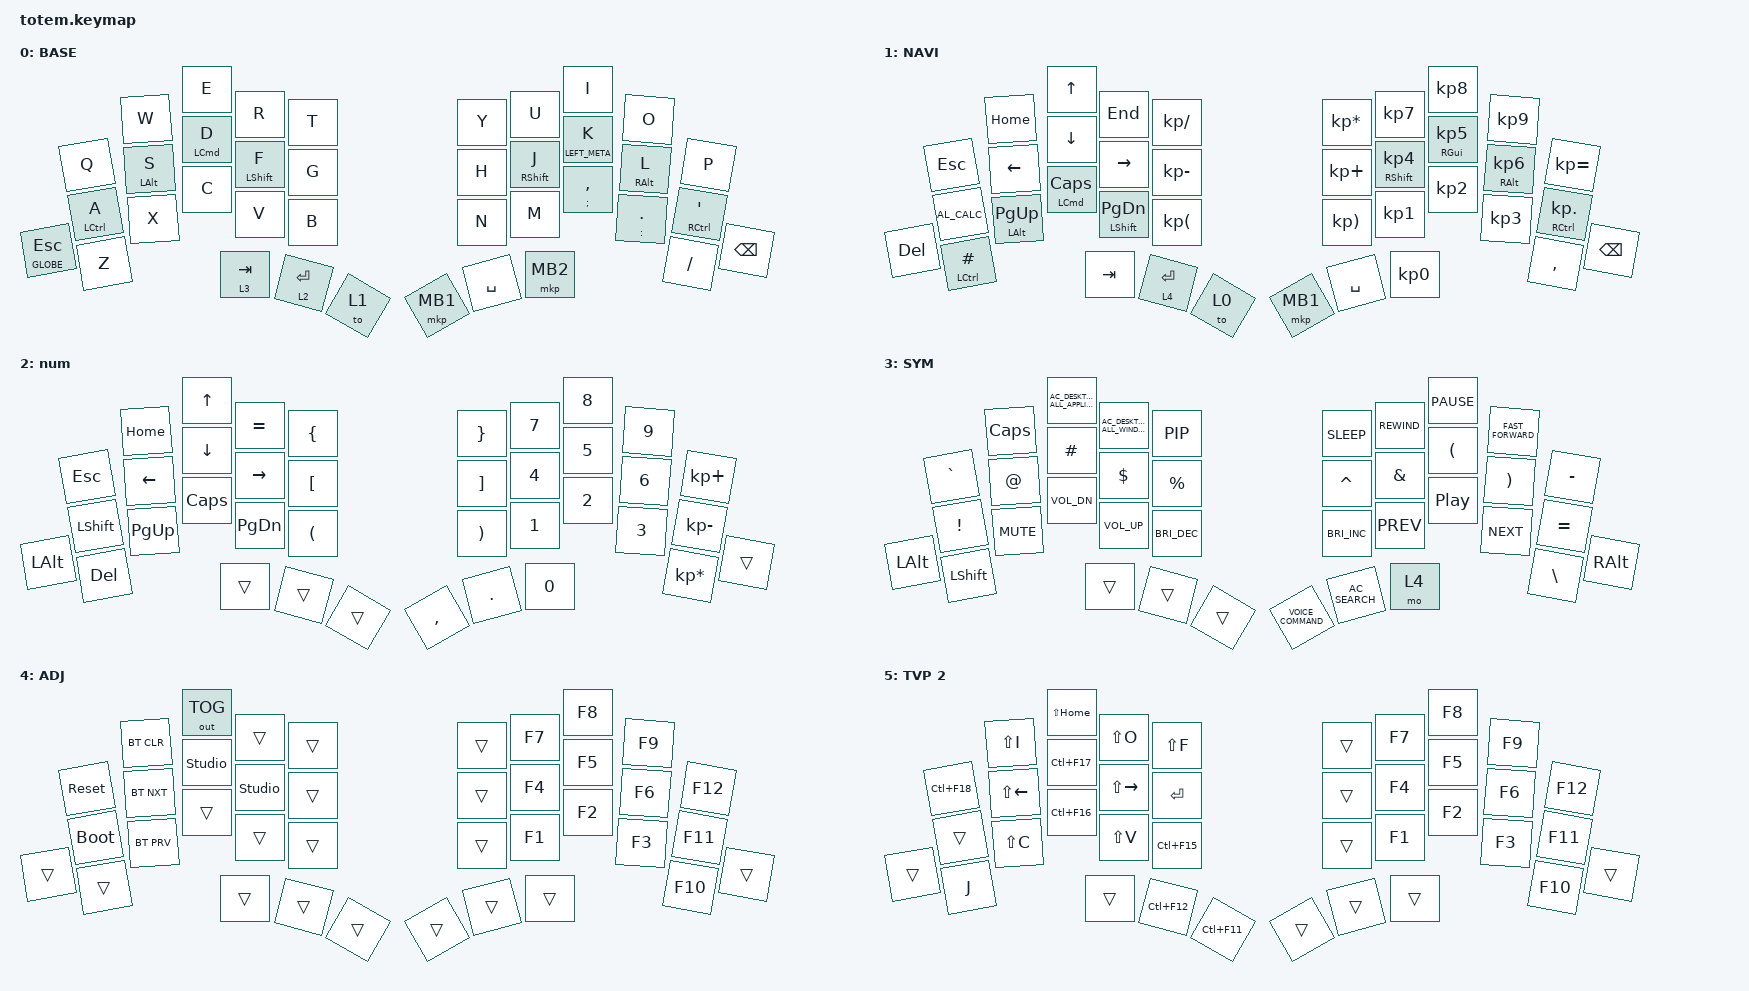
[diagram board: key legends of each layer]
//
//                                                        ▀▀▀▀▀     ▀▀▀▀▀          ▀▀█▀▀
//                                                        ▄▀▀▀▄  ▄  ▄▀▀▀▄  ▄  ▄▀▀▀▄  █  ▄▀▀▀▄
//                                                        █   █  █  █   █  █  █   █  █  █   █
//                                                         ▀▀▀   █   ▀▀▀   █   ▀▀▀   ▀   ▀▀▀
//                                                               █      ▄▄▄█▄▄▄    █   █  
//                                                               ▀      █  █  █     █▄█
//                                                             ▀▀▀▀▀    █  █  █      ▀
//                                                                      ▀  ▀  ▀
//
// ▄▄▄▄▄▄▄▄▄▄▄▄▄▄▄▄▄▄▄▄▄▄▄▄▄▄▄▄▄▄▄▄▄▄▄▄▄▄▄▄▄▄▄▄▄▄▄▄▄▄▄▄▄▄▄▄▄▄▄▄▄▄▄▄▄▄▄▄▄▄▄▄▄▄▄▄▄▄▄▄▄▄▄▄▄▄▄▄▄▄▄▄▄▄▄▄▄▄▄▄▄▄▄▄▄▄▄▄▄▄▄▄▄▄▄▄▄▄▄▄▄▄▄▄▄▄▄▄▄▄▄▄▄▄▄▄▄▄▄▄▄▄▄▄▄▄▄▄▄

#include <behaviors.dtsi>
#include <dt-bindings/zmk/bt.h>
#include <dt-bindings/zmk/keys.h>
#include <dt-bindings/zmk/outputs.h>
#include <dt-bindings/zmk/pointing.h>

#define BASE 0
#define NAV  1
#define SYM  2
#define ADJ  3
#define TVP1 4
#define TVP2 5

&mt {
    quick-tap-ms = <100>;
    global-quick-tap;
    flavor = "balanced";
    tapping-term-ms = <200>;
};

/ {
    combos {
        compatible = "zmk,combos";

        combo_esc {
            timeout-ms = <50>;
            key-positions = <0 1>;
            bindings = <&kp ESC>;
        };

        combo_tvp {
            timeout-ms = <100>;
            key-positions = <11 12 13>;
            bindings = <&tog 0>;
        };
    };

    macros {
        gif: gif {
            display-name = "giphy";
            compatible = "zmk,behavior-macro";
            #binding-cells = <0>;
            bindings =
                <&macro_press>,
                <&kp LSHFT>,
                <&macro_tap>,
                <&kp N2>,
                <&macro_release>,
                <&kp LSHFT>,
                <&macro_tap>,
                <&kp G &kp I &kp F>;
        };
    };

    behaviors {
        HMShiftR: HMShiftR {
            compatible = "zmk,behavior-hold-tap";
            label = "HMSHIFTR";
            bindings = <&kp>, <&kp>;

            #binding-cells = <2>;
            tapping-term-ms = <250>;
            hold-while-undecided;
            hold-trigger-on-release;
            hold-trigger-key-positions = <0 1 4 10 11 12 13 14 20 21 22 23 24 25 32 33 3 2 0 1 2 3 4 10 11 12 13 14 20 21 22 23 24 25 32 33 34>;
            quick-tap-ms = <150>;
            flavor = "balanced";
            require-prior-idle-ms = <125>;
        };

        HMShiftL: HMShiftL {
            compatible = "zmk,behavior-hold-tap";
            label = "HMSHIFTL";
            bindings = <&kp>, <&kp>;

            #binding-cells = <2>;
            tapping-term-ms = <250>;
            hold-while-undecided;
            hold-trigger-on-release;
            hold-trigger-key-positions = <5 6 7 8 9 15 16 17 18 19 26 27 28 29 30 31 35 36 37>;
            quick-tap-ms = <150>;
            require-prior-idle-ms = <125>;
            flavor = "balanced";
        };

        HMRowR: HMRowR {
            compatible = "zmk,behavior-hold-tap";
            label = "HMROWR";
            bindings = <&kp>, <&kp>;

            #binding-cells = <2>;
            tapping-term-ms = <200>;
            hold-while-undecided;
            hold-trigger-on-release;
            hold-trigger-key-positions = <0 1 4 10 11 12 13 14 20 21 22 23 24 25 32 33 3 2 0 1 2 3 4 10 11 12 13 14 20 21 22 23 24 25 32 33 34>;
            quick-tap-ms = <125>;
            flavor = "tap-preferred";
        };

        HMRowL: HMRowL {
            compatible = "zmk,behavior-hold-tap";
            label = "HMROWL";
            bindings = <&kp>, <&kp>;

            #binding-cells = <2>;
            tapping-term-ms = <200>;
            hold-while-undecided;
            hold-trigger-on-release;
            quick-tap-ms = <125>;
            flavor = "tap-preferred";
            hold-trigger-key-positions = <5 6 7 8 9 15 16 17 18 19 26 27 28 29 30 31 35 36 37>;
        };
    };

    keymap {
        compatible = "zmk,keymap";

        // ▄▄▄▄▄▄▄▄▄▄▄▄▄▄▄▄▄▄▄▄▄▄▄▄▄▄▄▄▄▄▄▄▄▄▄▄▄▄▄▄▄▄▄▄▄▄▄▄▄▄▄▄▄▄▄▄▄▄▄▄▄▄▄▄▄▄▄▄▄▄▄▄▄▄▄▄▄▄▄▄▄▄▄▄▄▄▄▄▄▄▄▄▄▄▄▄▄▄▄▄▄▄▄▄▄▄▄▄▄▄▄▄▄▄▄▄▄▄▄▄▄▄▄▄▄▄▄▄▄▄▄▄▄▄▄▄▄▄▄▄▄▄▄▄▄▄▄▄▄

        base_layer {
            // ┏━━━━━━━━━━━━━━━━━━━━━━━━━━━━━━━━━━━━━━━┓

            display-name = "BASE";

            // ┗━━━━━━━━━━━━━━━━━━━━━━━━━━━━━━━━━━━━━━━┛
            //             ┏━━━━━━━━━━━┳━━━━━━━━━━━┳━━━━━━━━━━━┳━━━━━━━━━━━┳━━━━━━━━━━━┓   ┏━━━━━━━━━━━┳━━━━━━━━━━━┳━━━━━━━━━━━┳━━━━━━━━━━━┳━━━━━━━━━━━┓
            //             ┃     Q     ┃     W     ┃     F     ┃     P     ┃     G     ┃   ┃     J     ┃     L     ┃     U     ┃     Y     ┃     ;     ┃
            //             ┣━━━━━━━━━━━╋━━━━━━━━━━━╋━━━━━━━━━━━╋━━━━━━━━━━━╋━━━━━━━━━━━┫   ┣━━━━━━━━━━━╋━━━━━━━━━━━╋━━━━━━━━━━━╋━━━━━━━━━━━╋━━━━━━━━━━━┫
            //             ┃     A     ┃     R     ┃     S     ┃     T     ┃     D     ┃   ┃     H     ┃     N     ┃     E     ┃     I     ┃     O     ┃
            // ┏━━━━━━━━━━━╋━━━━━━━━━━━╋━━━━━━━━━━━╋━━━━━━━━━━━╋━━━━━━━━━━━╋━━━━━━━━━━━┫   ┣━━━━━━━━━━━╋━━━━━━━━━━━╋━━━━━━━━━━━╋━━━━━━━━━━━╋━━━━━━━━━━━╋━━━━━━━━━━━┓
            // ┃   btclr   ┃     Z     ┃     X     ┃     C     ┃     V     ┃     B     ┃   ┃     K     ┃     M     ┃     ,     ┃     .     ┃     /     ┃     \     ┃
            // ┗━━━━━━━━━━━┻━━━━━━━━━━━┻━━━━━━━━━━━╋━━━━━━━━━━━╋━━━━━━━━━━━╋━━━━━━━━━━━┫   ┣━━━━━━━━━━━╋━━━━━━━━━━━╋━━━━━━━━━━━╋━━━━━━━━━━━┻━━━━━━━━━━━┻━━━━━━━━━━━┛
            //                                     ┃    zmk    ┃    TAB    ┃    SPC    ┃   ┃   ENTER   ┃           ┃   BSPC    ┃
            //                                     ┗━━━━━━━━━━━┻━━━━━━━━━━━┻━━━━━━━━━━━┛   ┗━━━━━━━━━━━┻━━━━━━━━━━━┻━━━━━━━━━━━┛

            bindings = <
                  &kp Q            &kp W           &kp E           &kp R              &kp T    &kp Y     &kp U              &kp I                &kp O             &kp P
                  &HMRowL LCTRL A  &HMRowL LALT S  &HMRowL LCMD D  &HMShiftL LSHFT F  &kp G    &kp H     &HMShiftR RSHFT J  &HMRowR LEFT_META K  &HMRowR RALT L    &HMRowR RCTRL SQT
&mt GLOBE ESCAPE  &kp Z            &kp X           &kp C           &kp V              &kp B    &kp N     &kp M              &mt SEMI COMMA       &mt COLON PERIOD  &kp FSLH           &kp BACKSPACE
                                                   &lt 3 TAB       &lt 2 RETURN       &to 1    &mkp MB1  &kp SPACE          &mkp MB2
            >;
        };

        nav_layer {
            // ┏━━━━━━━━━━━━━━━━━━━━━━━━━━━━━━━━━━━━━━━┓

            display-name = "NAVI";

            // ┗━━━━━━━━━━━━━━━━━━━━━━━━━━━━━━━━━━━━━━━┛
            //             ┏━━━━━━━━━━━┳━━━━━━━━━━━┳━━━━━━━━━━━┳━━━━━━━━━━━┳━━━━━━━━━━━┓   ┏━━━━━━━━━━━┳━━━━━━━━━━━┳━━━━━━━━━━━┳━━━━━━━━━━━┳━━━━━━━━━━━┓
            //             ┃           ┃           ┃     UP    ┃           ┃     {     ┃   ┃     }     ┃     7     ┃     8     ┃     9     ┃     +     ┃
            //             ┣━━━━━━━━━━━╋━━━━━━━━━━━╋━━━━━━━━━━━╋━━━━━━━━━━━╋━━━━━━━━━━━┫   ┣━━━━━━━━━━━╋━━━━━━━━━━━╋━━━━━━━━━━━╋━━━━━━━━━━━╋━━━━━━━━━━━┫
            //             ┃   SHIFT   ┃   LEFT    ┃    DOWN   ┃   RIGHT   ┃     [     ┃   ┃     ]     ┃     4     ┃     5     ┃     6     ┃     -     ┃
            // ┏━━━━━━━━━━━╋━━━━━━━━━━━╋━━━━━━━━━━━╋━━━━━━━━━━━╋━━━━━━━━━━━╋━━━━━━━━━━━┫   ┣━━━━━━━━━━━╋━━━━━━━━━━━╋━━━━━━━━━━━╋━━━━━━━━━━━╋━━━━━━━━━━━╋━━━━━━━━━━━┓
            // ┃           ┃           ┃   P UP    ┃  C LOCK   ┃  P DOWN   ┃     (     ┃   ┃     )     ┃     1     ┃     2     ┃     3     ┃     *     ┃           ┃
            // ┗━━━━━━━━━━━┻━━━━━━━━━━━┻━━━━━━━━━━━╋━━━━━━━━━━━╋━━━━━━━━━━━╋━━━━━━━━━━━┫   ┣━━━━━━━━━━━╋━━━━━━━━━━━╋━━━━━━━━━━━╋━━━━━━━━━━━┻━━━━━━━━━━━┻━━━━━━━━━━━┛
            //                                     ┃           ┃    TAB    ┃    SPC    ┃   ┃    DEL    ┃     0     ┃           ┃
            //                                     ┗━━━━━━━━━━━┻━━━━━━━━━━━┻━━━━━━━━━━━┛   ┗━━━━━━━━━━━┻━━━━━━━━━━━┻━━━━━━━━━━━┛

            bindings = <
            &kp ESC                &kp HOME              &kp UP                     &kp END                   &kp KP_DIVIDE              &kp KP_ASTERISK           &kp KP_NUMBER_7              &kp KP_NUMBER_8            &kp KP_NUMBER_9            &kp KP_EQUAL
            &kp C_AL_CALC          &kp LEFT              &kp DOWN                   &kp RIGHT                 &kp KP_SUBTRACT            &kp KP_PLUS               &mt RIGHT_SHIFT KP_NUMBER_4  &mt RIGHT_GUI KP_NUMBER_5  &mt RIGHT_ALT KP_NUMBER_6  &mt RCTRL KP_DOT
&kp DELETE  &mt LEFT_CONTROL HASH  &mt LEFT_ALT PAGE_UP  &mt LEFT_COMMAND CAPSLOCK  &mt LEFT_SHIFT PAGE_DOWN  &kp KP_LEFT_PARENTHESIS    &kp KP_RIGHT_PARENTHESIS  &kp KP_NUMBER_1              &kp KP_NUMBER_2            &kp KP_NUMBER_3            &kp COMMA         &kp BACKSPACE
                                                         &kp TAB                    &lt 4 RET                 &to 0                      &mkp MB1                  &kp SPACE                    &kp KP_NUMBER_0
            >;
        };

        numbers {
            display-name = "num";
            bindings = <
              &kp ESC    &kp HOME   &kp UP    &kp EQUAL  &kp LBRC    &kp RBRC   &kp N7        &kp N8        &kp N9        &kp KP_PLUS
              &kp LSHFT  &kp LEFT   &kp DOWN  &kp RIGHT  &kp LBKT    &kp RBKT   &kp NUMBER_4  &kp N5        &kp NUMBER_6  &kp KP_MINUS
&kp LEFT_ALT  &kp DEL    &kp PG_UP  &kp CAPS  &kp PG_DN  &kp LPAR    &kp RPAR   &kp NUMBER_1  &kp NUMBER_2  &kp NUMBER_3  &kp KP_MULTIPLY  &trans
                                    &trans    &trans     &trans      &kp COMMA  &kp PERIOD    &kp N0
            >;
        };

        sim_layer {
            // ┏━━━━━━━━━━━━━━━━━━━━━━━━━━━━━━━━━━━━━━━┓

            display-name = "SYM";

            // ┗━━━━━━━━━━━━━━━━━━━━━━━━━━━━━━━━━━━━━━━┛
            //             ┏━━━━━━━━━━━┳━━━━━━━━━━━┳━━━━━━━━━━━┳━━━━━━━━━━━┳━━━━━━━━━━━┓   ┏━━━━━━━━━━━┳━━━━━━━━━━━┳━━━━━━━━━━━┳━━━━━━━━━━━┳━━━━━━━━━━━┓
            //             ┃     !     ┃     @     ┃     #     ┃     $     ┃     %     ┃   ┃     ˆ     ┃     &     ┃     Ü     ┃     '     ┃     "     ┃
            //             ┣━━━━━━━━━━━╋━━━━━━━━━━━╋━━━━━━━━━━━╋━━━━━━━━━━━╋━━━━━━━━━━━┫   ┣━━━━━━━━━━━╋━━━━━━━━━━━╋━━━━━━━━━━━╋━━━━━━━━━━━╋━━━━━━━━━━━┫
            //             ┃     Ä     ┃           ┃    SZ     ┃           ┃           ┃   ┃   MUTE    ┃   YEN     ┃   EURO    ┃  POUND    ┃     Ö     ┃
            // ┏━━━━━━━━━━━╋━━━━━━━━━━━╋━━━━━━━━━━━╋━━━━━━━━━━━╋━━━━━━━━━━━╋━━━━━━━━━━━┫   ┣━━━━━━━━━━━╋━━━━━━━━━━━╋━━━━━━━━━━━╋━━━━━━━━━━━╋━━━━━━━━━━━╋━━━━━━━━━━━┓
            // ┃           ┃  EMAIL1   ┃  EMAIL2   ┃           ┃           ┃           ┃   ┃   VOL-    ┃   VOL+    ┃   LAST    ┃   NEXT    ┃     \     ┃           ┃
            // ┗━━━━━━━━━━━┻━━━━━━━━━━━┻━━━━━━━━━━━╋━━━━━━━━━━━╋━━━━━━━━━━━╋━━━━━━━━━━━┫   ┣━━━━━━━━━━━╋━━━━━━━━━━━╋━━━━━━━━━━━╋━━━━━━━━━━━┻━━━━━━━━━━━┻━━━━━━━━━━━┛
            //                                     ┃           ┃    GIF    ┃    ADJ    ┃   ┃           ┃           ┃           ┃
            //                                     ┗━━━━━━━━━━━┻━━━━━━━━━━━┻━━━━━━━━━━━┛   ┗━━━━━━━━━━━┻━━━━━━━━━━━┻━━━━━━━━━━━┛

            bindings = <
              &kp GRAVE        &kp CAPS     &kp C_AC_DESKTOP_SHOW_ALL_APPLICATIONS  &kp C_AC_DESKTOP_SHOW_ALL_WINDOWS  &kp C_PIP               &kp C_SLEEP           &kp C_REWIND     &kp C_PAUSE           &kp C_FAST_FORWARD     &kp MINUS
              &kp EXCLAMATION  &kp AT_SIGN  &kp HASH                                &kp DOLLAR                         &kp PERCENT             &kp CARET             &kp AMPERSAND    &kp LEFT_PARENTHESIS  &kp RIGHT_PARENTHESIS  &kp EQUAL
&kp LEFT_ALT  &kp LSHFT        &kp C_MUTE   &kp C_VOL_DN                            &kp C_VOLUME_UP                    &kp C_BRIGHTNESS_DEC    &kp C_BRIGHTNESS_INC  &kp C_PREV       &kp C_PLAY_PAUSE      &kp C_NEXT             &kp BSLH   &kp RIGHT_ALT
                                            &trans                                  &trans                             &trans                  &kp C_VOICE_COMMAND   &kp C_AC_SEARCH  &mo 4
            >;
        };

        function_keys {
            // ┏━━━━━━━━━━━━━━━━━━━━━━━━━━━━━━━━━━━━━━━┓

            display-name = "ADJ";

            // ┗━━━━━━━━━━━━━━━━━━━━━━━━━━━━━━━━━━━━━━━┛
            //             ┏━━━━━━━━━━━┳━━━━━━━━━━━┳━━━━━━━━━━━┳━━━━━━━━━━━┳━━━━━━━━━━━┓   ┏━━━━━━━━━━━┳━━━━━━━━━━━┳━━━━━━━━━━━┳━━━━━━━━━━━┳━━━━━━━━━━━┓
            //             ┃   RESET   ┃ BT CLEAR  ┃  OUT TOG  ┃           ┃           ┃   ┃           ┃    F7     ┃    F8     ┃    F9     ┃    F12    ┃
            //             ┣━━━━━━━━━━━╋━━━━━━━━━━━╋━━━━━━━━━━━╋━━━━━━━━━━━╋━━━━━━━━━━━┫   ┣━━━━━━━━━━━╋━━━━━━━━━━━╋━━━━━━━━━━━╋━━━━━━━━━━━╋━━━━━━━━━━━┫
            //             ┃ BOOTLOAD  ┃ BT NEXT   ┃           ┃           ┃           ┃   ┃           ┃    F4     ┃    F5     ┃    F6     ┃    F11    ┃
            // ┏━━━━━━━━━━━╋━━━━━━━━━━━╋━━━━━━━━━━━╋━━━━━━━━━━━╋━━━━━━━━━━━╋━━━━━━━━━━━┫   ┣━━━━━━━━━━━╋━━━━━━━━━━━╋━━━━━━━━━━━╋━━━━━━━━━━━╋━━━━━━━━━━━╋━━━━━━━━━━━┓
            // ┃           ┃           ┃ BT PREV   ┃           ┃           ┃           ┃   ┃           ┃    F1     ┃    F2     ┃    F3     ┃    F10    ┃           ┃
            // ┗━━━━━━━━━━━┻━━━━━━━━━━━┻━━━━━━━━━━━╋━━━━━━━━━━━╋━━━━━━━━━━━╋━━━━━━━━━━━┫   ┣━━━━━━━━━━━╋━━━━━━━━━━━╋━━━━━━━━━━━╋━━━━━━━━━━━┻━━━━━━━━━━━┻━━━━━━━━━━━┛
            //                                     ┃           ┃           ┃           ┃   ┃           ┃           ┃           ┃
            //                                     ┗━━━━━━━━━━━┻━━━━━━━━━━━┻━━━━━━━━━━━┛   ┗━━━━━━━━━━━┻━━━━━━━━━━━┻━━━━━━━━━━━┛

            bindings = <
        &sys_reset   &bt BT_CLR  &out OUT_TOG    &trans          &trans    &trans  &kp F7  &kp F8  &kp F9  &kp F12
        &bootloader  &bt BT_NXT  &studio_unlock  &studio_unlock  &trans    &trans  &kp F4  &kp F5  &kp F6  &kp F11
&trans  &trans       &bt BT_PRV  &trans          &trans          &trans    &trans  &kp F1  &kp F2  &kp F3  &kp F10  &trans
                                 &trans          &trans          &trans    &trans  &trans  &trans
            >;
        };

        tvp2_layer {
            // ┏━━━━━━━━━━━━━━━━━━━━━━━━━━━━━━━━━━━━━━━┓

            display-name = "TVP 2";

            // ┗━━━━━━━━━━━━━━━━━━━━━━━━━━━━━━━━━━━━━━━┛
            //             ┏━━━━━━━━━━━┳━━━━━━━━━━━┳━━━━━━━━━━━┳━━━━━━━━━━━┳━━━━━━━━━━━┓   ┏━━━━━━━━━━━┳━━━━━━━━━━━┳━━━━━━━━━━━┳━━━━━━━━━━━┳━━━━━━━━━━━┓
            //             ┃ SOLO      ┃ TOGGLE IN ┃ RESET ROT ┃ TOGGLE OUT┃ TAKE SNAP ┃   ┃           ┃           ┃           ┃           ┃           ┃
            //             ┣━━━━━━━━━━━╋━━━━━━━━━━━╋━━━━━━━━━━━╋━━━━━━━━━━━╋━━━━━━━━━━━┫   ┣━━━━━━━━━━━╋━━━━━━━━━━━╋━━━━━━━━━━━╋━━━━━━━━━━━╋━━━━━━━━━━━┫
            //             ┃ ---       ┃ LAST KEY  ┃ NEW KEY   ┃ NEXT KEY  ┃ ENTER     ┃   ┃           ┃           ┃           ┃           ┃           ┃
            // ┏━━━━━━━━━━━╋━━━━━━━━━━━╋━━━━━━━━━━━╋━━━━━━━━━━━╋━━━━━━━━━━━╋━━━━━━━━━━━┫   ┣━━━━━━━━━━━╋━━━━━━━━━━━╋━━━━━━━━━━━╋━━━━━━━━━━━╋━━━━━━━━━━━╋━━━━━━━━━━━┓
            // ┃           ┃ FULLSCR   ┃ CPY2BRUSH ┃ DEL HEAD  ┃ PSTinPLACE┃ BOOK MARK ┃   ┃           ┃           ┃           ┃           ┃           ┃           ┃
            // ┗━━━━━━━━━━━┻━━━━━━━━━━━┻━━━━━━━━━━━╋━━━━━━━━━━━╋━━━━━━━━━━━╋━━━━━━━━━━━┫   ┣━━━━━━━━━━━╋━━━━━━━━━━━╋━━━━━━━━━━━╋━━━━━━━━━━━┻━━━━━━━━━━━┻━━━━━━━━━━━┛
            //                                     ┃           ┃ REDO/SAV1 ┃TRANS/WARP ┃   ┃           ┃           ┃           ┃
            //                                     ┗━━━━━━━━━━━┻━━━━━━━━━━━┻━━━━━━━━━━━┛   ┗━━━━━━━━━━━┻━━━━━━━━━━━┻━━━━━━━━━━━┛

            bindings = <
        &kp LC(F18)  &kp LS(I)     &kp LS(HOME)  &kp LS(O)      &kp LS(F)      &trans  &kp F7  &kp F8  &kp F9  &kp F12
        &trans       &kp LS(LEFT)  &kp LC(F17)   &kp LS(RIGHT)  &kp RET        &trans  &kp F4  &kp F5  &kp F6  &kp F11
&trans  &kp J        &kp LS(C)     &kp LC(F16)   &kp LS(V)      &kp LC(F15)    &trans  &kp F1  &kp F2  &kp F3  &kp F10  &trans
                                   &trans        &kp LC(F12)    &kp LC(F11)    &trans  &trans  &trans
            >;
        };
    };
};
